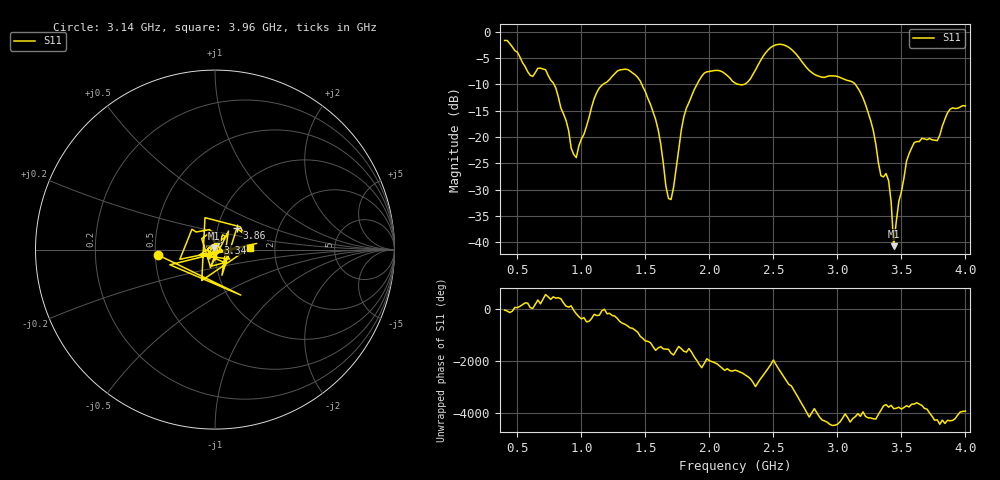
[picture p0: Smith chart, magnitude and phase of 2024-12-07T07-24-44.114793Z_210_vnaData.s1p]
!Created with skrf (http://scikit-rf.org).
# Hz S RI R 50.0
!freq ReS11 ImS11
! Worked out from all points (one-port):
!   181 points, 400 MHz to 4 GHz, reference 50 ohm
!   lowest |S11| = -40.7 dB at 3.44 GHz (marker M1), VSWR 1.02, Z = 49.4 + j0.697 ohm
!   |S11| at or under -10 dB: 785.9 MHz to 1.17 GHz (383.7 MHz wide, 39.2 % of centre); 1.472 GHz to 1.903 GHz (431.2 MHz wide, 25.6 % of centre); 3.141 GHz to end of sweep (the widest 3 of 4)
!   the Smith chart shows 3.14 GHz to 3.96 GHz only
!   S11 on the Smith chart (normalised r, x): 3.14 GHz: 0.52, -0.04; 3.34 GHz: 1.03, +0.08; 3.86 GHz: 1.24, +0.30; 3.96 GHz: 1.48, +0.03
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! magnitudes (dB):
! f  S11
! 400 MHz  -1.7
! 600 MHz  -8.3
! 720 MHz  -7.2
! 860 MHz  -15.6
! 960 MHz  -23.9
! 1.12 GHz  -11.6
! 1.3 GHz  -7.3
! 1.54 GHz  -13.8
! 1.6 GHz  -18.6
! 1.68 GHz  -31.6
! 1.76 GHz  -22.4
! 1.82 GHz  -14.5
! 1.96 GHz  -7.9
! 2.2 GHz  -9.7
! 2.5 GHz  -2.7
! 2.66 GHz  -3.8
! 3.1 GHz  -9.4
! 3.14 GHz  -10.0
! 3.26 GHz  -16.9
! 3.34 GHz  -27.3
! 3.4 GHz  -28.3
! 3.44 GHz  -40.7
! 3.48 GHz  -32.2
! 3.56 GHz  -23.2
! 3.78 GHz  -20.7
! 3.86 GHz  -15.4
! 3.96 GHz  -14.3
! 4 GHz  -14.1
